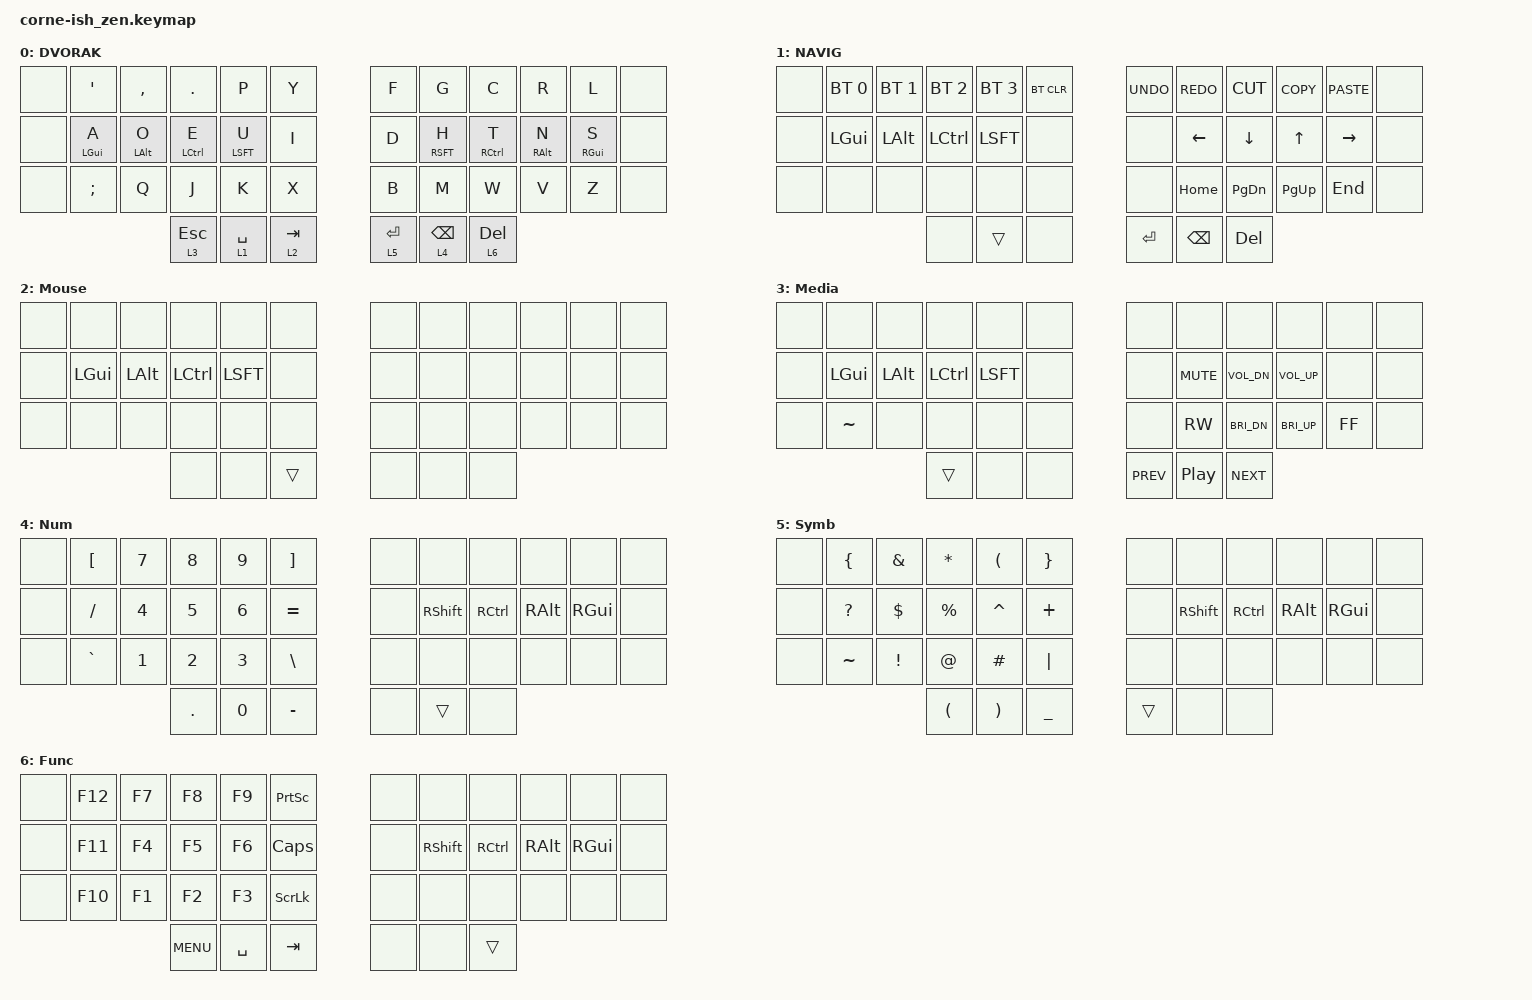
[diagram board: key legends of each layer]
/*
*
* Copyright (c) 2021 lowprokb.ca
* SPDX-License-Identifier: MIT
*
*/

#include <behaviors.dtsi>
#include <dt-bindings/zmk/keys.h>
#include <dt-bindings/zmk/bt.h>
#include <dt-bindings/zmk/outputs.h>

#define COMBO_TIMEOUT 60

#define DEFAULT 0
#define MOVE 1
#define MOUSE   2
#define MEDIA   3
#define NUM     4
#define SYMB    5
#define FUN     6

// {
//    combos {
//        compatible = "zmk,combos";
//        combo_danger {
//            timeout-ms = <COMBO_TIMEOUT>;
//            key-positions = <20 21 22>;
//            bindings = <&tog 3>;
//        };
//	 combo_send {
//            timeout-ms = <COMBO_TIMEOUT>;
//            key-positions = <18 19 20>;
//            bindings = <&kp LC(RET)>;
//        };
//	 combo_del {
//            timeout-ms = <COMBO_TIMEOUT>;
//            key-positions = <14 15 16>;
//            bindings = <&kp DEL>;
//        };
//	 combo_home {
//            timeout-ms = <COMBO_TIMEOUT>;
//            key-positions = <15 16 17>;
//            bindings = <&kp LS(HOME)>;
//        };
//	 combo_printsc {
//            timeout-ms = <COMBO_TIMEOUT>;
//            key-positions = <2 3 4>;
//            bindings = <&kp PSCRN>;
//	 };
//	 combo_cw {
//            timeout-ms = <COMBO_TIMEOUT>;
//            key-positions = <3 4 5>;
//            bindings = <&caps_word>;
//        };
//	 combo_tab {
//            timeout-ms = <COMBO_TIMEOUT>;
//            key-positions = <13 14 15>;
//            bindings = <&kp TAB>;
//        };
//	 combo_esc {
//            timeout-ms = <COMBO_TIMEOUT>;
//            key-positions = <1 2 3>;
//            bindings = <&kp ESC>;
//	 };
//	 combo_grave {
//            timeout-ms = <COMBO_TIMEOUT>;
//            key-positions = <26 27 28>;
//            bindings = <&kp GRAVE>;
//	};
//	 combo_ctlbksp {
//            timeout-ms = <COMBO_TIMEOUT>;
//            key-positions = <7 8 9>;
//            bindings = <&kp LC(BSPC)>;
//        };
//	 combo_bksp {
//            timeout-ms = <COMBO_TIMEOUT>;
//            key-positions = <19 20 21>;
//            bindings = <&kp BSPC>;
//        };
//    };
//};


/ {
	behaviors {

        bh: layer_taps {
		compatible = "zmk,behavior-hold-tap";
		label = "Layer-Tap";
		#binding-cells = <2>;
		tapping_term_ms = <215>;
                flavor = "tap-preferred";
		bindings = <&mo>, <&kp>;
        };

        hm: homerow_mods {
                compatible = "zmk,behavior-hold-tap";
                label = "HOMEROW_MODS";
                #binding-cells = <2>;
                tapping-term-ms = <170>;
                quick_tap_ms = <0>;
                flavor = "tap-preferred";
                bindings = <&kp>, <&kp>;
        };
     };
   };

&caps_word {
	continue-list = <UNDERSCORE MINUS BACKSPACE DELETE HOME END LEFT RIGHT>;
};


//                        label = "DVORAK";
// -----------------------------------------------------------------------------------------
// |  '  |  ,  |  .  |  P  |  Y  |   |  F  |  G   |  C  |  R  |  L  |
// |  A  |  O  |  E  |  U  |  I  |   |  D  |  H   |  T  |  N  |  S  |
// |  ;  |  Q  |  J  |  K  |  X  |   |  B  |  M   |  W  |  V  |  Z  |
//             | GUI | LWR | SPC |   | ENT | RSE  | ALT |
//                        bindings = <
//&kp SQT  &kp COMMA &kp DOT  &kp P  &kp Y     &kp F   &kp G  &kp C &kp R &kp L
//&kp A    &kp O     &kp E    &kp U &kp I     &kp D   &kp H &kp T &kp N &kp S
//&kp SEMI &kp Q     &kp J    &kp K  &kp X     &kp B   &kp M  &kp W &kp V &kp Z
//                                &kp LGUI &mo 1 &kp SPACE &kp RET &mo 2 &kp RALT
//                        >;
//                };

// homerow homerow homerow mods
//define LGUI_A &hm LGUI A
//#define LALT_O &hm LALT O
//#define LCTRL &hm LCTRL E
//#define LSHFT_U &hm LSFT U
//#define RSHFT_H &hm RSFT H
//#define RCTRL_T &hm RCTRL T
//#define RALT_N &hm RALT N
//#define RGUI_S &hm RGUI S

// LT3ESC,  LT1SPC,  LT2TAB,  LT5ENT,  LT4BSPC, LT6DEL,

/ {
        keymap {
                compatible = "zmk,keymap";
                default_layer {
// -----------------------------------------------------------------------------------------
// |  '  |  ,  |  .  |  P  |  Y  |   |  F  |  G   |  C  |  R  |  L  |
// |  A  |  O  |  E  |  U  |  I  |   |  D  |  H   |  T  |  N  |  S  |
// |  ;  |  Q  |  J  |  K  |  X  |   |  B  |  M   |  W  |  V  |  Z  |
//             | GUI | LWR | ENT |   | SPC | RSE  | ALT |
                        bindings = <
&none &kp SQT    &kp COMMA  &kp DOT     &kp P      &kp Y     &kp F &kp G      &kp C       &kp R      &kp L      &none
&none &hm LGUI A &hm LALT O &hm LCTRL E &hm LSFT U &kp I     &kp D &hm RSFT H &hm RCTRL T &hm RALT N &hm RGUI S &none
&none &kp SEMI   &kp Q      &kp J       &kp K      &kp X     &kp B &kp M      &kp W       &kp V      &kp Z      &none
                 &bh 3 ESC   &bh 1 SPACE   &bh 2 TAB     &bh 5 ENTER  &bh 4 BSPC  &bh 6 DEL
                        >;
		label = "DVORAK";
                };
                navi_layer {
// -----------------------------------------------------------------------------------------
// | BT1 | BT2 | BT3 | BT4 | BT5 |   |  7  |  8  |  9  | DEL | BSPC|
// |  F2 |  F3 |  F4 |  F5 |  F6 |   |  4  |  5  |  6  | PGU | PGD |
// |  F7 |  F8 |  F10|  F11|  F12|   |  1  |  2  |  3  | BSL | CTRL/ENT |
//                    | CAS |     | Alt;Ent |   | Ctrl;F1 |  0  | shift;. |
                        bindings = <
&none &bt BT_SEL 0 &bt BT_SEL 1 &bt BT_SEL 2 &bt BT_SEL 3 &bt BT_CLR   &kp K_UNDO &kp K_REDO &kp K_CUT &kp K_COPY &kp K_PASTE  &none
&none &kp LGUI     &kp LALT     &kp LCTRL    &kp LSFT     &none        &none &kp LEFT &kp DOWN &kp UP &kp RIGHT &none
&none &none        &none        &none        &none        &none        &none &kp HOME &kp PG_DN &kp PG_UP  &kp END &none
               	        &none &trans &none      &kp ENTER  &kp BSPC  &kp DEL
                        >;
		label = "NAVIG";
                };
                                mouse_layer {
// -----------------------------------------------------------------------------------------
// |    |    |    |    |    ||---||    |    |    |    |    |
// | GUI| ALT|CTRL|SFT |    ||---||    |    |    |    |    |
// |    |    |    |    |    ||---||    |    |    |    |    |
//           |    |    |    ||---||    |    |    |    |    |
                       bindings = <
&none &none &none &none &none &none                 &none &none &none &none &none &none
&none &kp LGUI &kp LALT &kp LCTRL &kp LSFT &none    &none &none &none &none &none &none
&none &none &none &none &none &none                 &none &none &none &none &none &none
                  &none &none &trans                &none &none &none
                        >;
		label = "Mouse";
                };


                media_layer {
// -----------------------------------------------------------------------------------------
// |    |    |    |    |    ||   ||    |    |    |    |    |
// | GUI| ALT|CTRL|SFT |    ||---||    |    |    |    |    |
// |    |    |    |    |    ||   ||    |    |    |    |    |
//           |    |    |    ||   ||    |    |    |    |    |
                       bindings = <
&none &none &none &none &none &none                   &none &none &none &none &none &none
&none &kp LGUI &kp LALT &kp LCTRL &kp LSFT &none      &none &kp C_MUTE &kp C_VOL_DN &kp C_VOL_UP &none &none
&none &kp TILDE &none &none &none &none                   &none &kp C_RW &kp C_BRI_DN &kp C_BRI_UP &kp C_FF &none
                  &trans &none &none                   &kp C_PREV &kp C_PP &kp C_NEXT
                        >;
		label = "Media";
                };
                num_layer {
// -----------------------------------------------------------------------------------------
// | [ |    |    |    | ] ||   ||    |    |    |    |    |
// | / |    |    |    |    ||   ||    |SFT |CTRL|ALT |GUI |
// | ` |    |    |    |    ||   ||    |    |    |    |    |
//           |    |    |    ||   ||    |    |    |    |    |
                       bindings = <
&none &kp LBKT &kp N7 &kp N8 &kp N9 &kp RBKT     &none &none &none &none &none &none
&none &kp SLASH &kp N4 &kp N5 &kp N6 &kp EQUAL     &none &kp RSHFT &kp RCTRL &kp RALT &kp RGUI &none
&none &kp GRAVE &kp N1 &kp N2 &kp N3 &kp BSLH     &none &none &none &none &none &none
                  &kp DOT &kp N0 &kp MINUS     &none &trans &none
                        >;
		label = "Num";
                };


                symb_layer {
// -----------------------------------------------------------------------------------------
// | { | & | * | ( | } ||   ||    |    |    |    |    |
// | ? | $ | % | ^ | - ||   ||    |SFT |CTRL|ALT |GUI |
// | ~ | ! | @ | # | = ||   ||    |    |    |    |    |
//           |  ( |  ) | _ ||   ||    |    |    |    |    |
                       bindings = <
&none &kp LBRC &kp AMPERSAND &kp STAR &kp LPAR &kp RBRC     &none &none &none &none &none &none
&none &kp QUESTION &kp DOLLAR &kp PRCNT &kp CARET &kp PLUS     &none &kp RSHFT &kp RCTRL &kp RALT &kp RGUI &none
&none &kp TILDE &kp EXCL &kp AT &kp HASH &kp PIPE     &none &none &none &none &none &none
                  &kp LPAR &kp RPAR &kp UNDER     &trans &none &none
                        >;
		label = "Symb";
                };


                fun_layer {
// -----------------------------------------------------------------------------------------
// | F12 | F7 | F8 | F9 | PRINT SCREEN ||   ||    |    |    |    |    |
// | F11 | F4 | F5 | F6 | CAPSLOCK     ||   ||    |SFT |CTRL|ALT |GUI |
// | F10 | F1 | F2 | F3 | SCROLLLOCK   ||   ||    |    |    |    |    |
//               | MENU | SPACE | TAB  ||   ||    |    |    |    |    |
                       bindings = <
&none &kp F12 &kp F7 &kp F8 &kp F9 &kp PSCRN       &none &none     &none     &none    &none    &none
&none &kp F11 &kp F4 &kp F5 &kp F6 &kp CAPSLOCK    &none &kp RSHFT &kp RCTRL &kp RALT &kp RGUI &none
&none &kp F10 &kp F1 &kp F2 &kp F3 &kp SCROLLLOCK  &none &none     &none     &none    &none    &none
                  &kp K_MENU &kp SPACE &kp TAB     &none &none     &trans
                        >;
		label = "Func";
                };
        };
};
